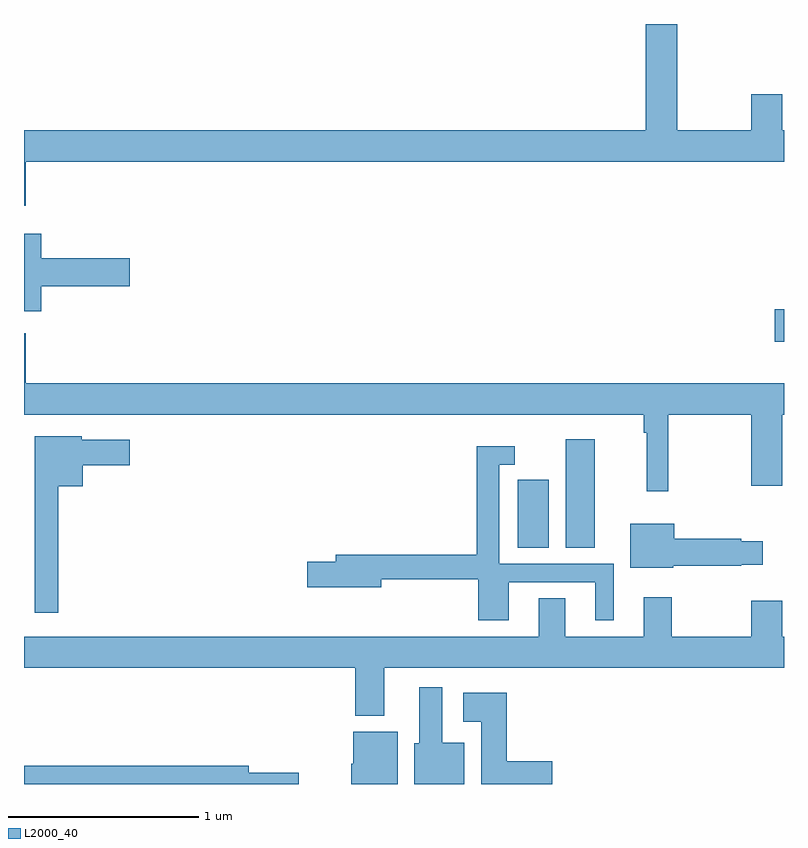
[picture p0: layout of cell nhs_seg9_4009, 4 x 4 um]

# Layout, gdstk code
import gdstk
lib = gdstk.Library(unit=1e-6, precision=1e-09)
def R(c, l, rs):  # rectangles x0, y0, x1, y1
    for r in rs: c.add(gdstk.rectangle(r[:2], r[2:], *l))
def P(c, l, *ps):  # polygons
    for p in ps: c.add(gdstk.Polygon(p, *l))
L2000_40 = (2000, 40)

nhs_seg9_4009 = lib.new_cell('nhs_seg9_4009')
R(nhs_seg9_4009, L2000_40, [(343.598,1171.744,343.762,1172.101), (343.85,1171.744,344.005,1172.314), (344.952,1172.828,345,1172.999)])
P(nhs_seg9_4009, L2000_40, [(341.009,1173.776),(345,1173.776),(345,1173.94),(344.992,1173.94),(344.992,1174.129),(344.828,1174.129),(344.828,1173.94),(344.437,1173.94),(344.437,1174.5),(344.273,1174.5),(344.273,1173.94),(341,1173.94),(341,1173.543),(341.009,1173.543)],
  [(341.092,1173.119),(341.557,1173.119),(341.557,1173.266),(341.092,1173.266),(341.092,1173.397),(341,1173.397),(341,1172.987),(341.092,1172.987)],
  [(344.392,1172.444),(344.828,1172.444),(344.828,1172.07),(344.992,1172.07),(344.992,1172.444),(345,1172.444),(345,1172.608),(341.009,1172.608),(341.009,1172.872),(341,1172.872),(341,1172.444),(344.263,1172.444),(344.263,1172.348),(344.278,1172.348),(344.278,1172.04),(344.392,1172.04)],
  [(341.179,1172.066),(341.308,1172.066),(341.308,1172.177),(341.557,1172.177),(341.557,1172.311),(341.304,1172.311),(341.304,1172.329),(341.057,1172.329),(341.057,1171.401),(341.179,1171.401)],
  [(343.552,1171.563),(344.006,1171.563),(344.006,1171.362),(344.104,1171.362),(344.104,1171.659),(343.5,1171.659),(343.5,1172.181),(343.582,1172.181),(343.582,1172.278),(343.384,1172.278),(343.384,1171.706),(342.641,1171.706),(342.641,1171.67),(342.492,1171.67),(342.492,1171.535),(342.88,1171.535),(342.88,1171.578),(343.391,1171.578),(343.391,1171.362),(343.552,1171.362)],
  [(344.418,1171.648),(344.774,1171.648),(344.774,1171.655),(344.887,1171.655),(344.887,1171.777),(344.774,1171.777),(344.774,1171.79),(344.422,1171.79),(344.422,1171.87),(344.192,1171.87),(344.192,1171.637),(344.418,1171.637)],
  [(342.895,1171.112),(345,1171.112),(345,1171.276),(344.992,1171.276),(344.992,1171.465),(344.828,1171.465),(344.828,1171.276),(344.409,1171.276),(344.409,1171.483),(344.261,1171.483),(344.261,1171.276),(343.849,1171.276),(343.849,1171.478),(343.709,1171.478),(343.709,1171.276),(341,1171.276),(341,1171.112),(342.743,1171.112),(342.743,1170.86),(342.895,1170.86)],
  [(343.318,1170.718),(343.201,1170.718),(343.201,1171.009),(343.079,1171.009),(343.079,1170.714),(343.055,1170.714),(343.055,1170.5),(343.318,1170.5)],
  [(343.78,1170.62),(343.541,1170.62),(343.541,1170.979),(343.311,1170.979),(343.311,1170.827),(343.406,1170.827),(343.406,1170.5),(343.78,1170.5)],
  [(342.967,1170.775),(342.734,1170.775),(342.734,1170.606),(342.722,1170.606),(342.722,1170.5),(342.967,1170.5)],
  [(342.445,1170.56),(342.184,1170.56),(342.184,1170.596),(341,1170.596),(341,1170.5),(342.445,1170.5)])

lib.write_gds('nhs_seg9_4009.gds')
